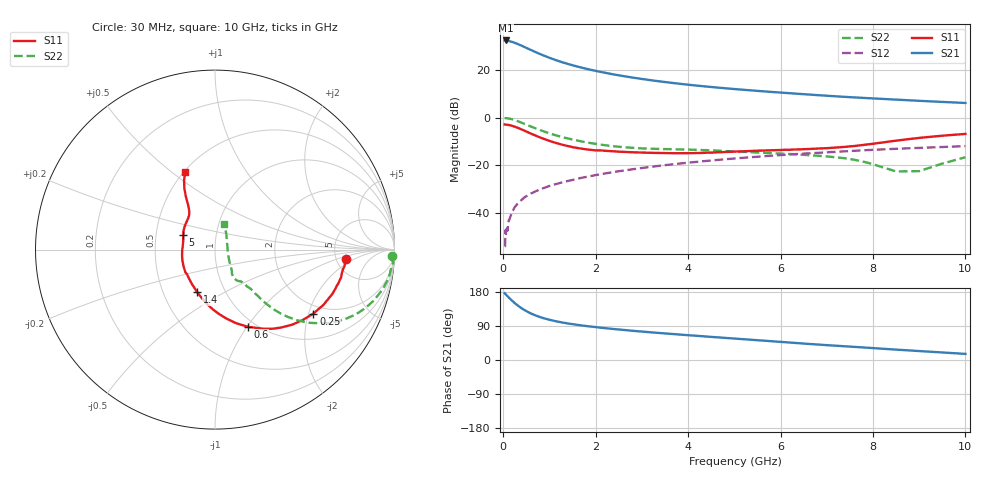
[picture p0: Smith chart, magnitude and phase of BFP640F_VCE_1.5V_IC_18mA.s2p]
! Infineon Technologies  Discrete & RF Semiconductors
! BFP640F
! VCE =  1.5 V,  IC =  18 mA
! Common Emitter S-Parameters:  Apr 2013
# GHz  S  MA  R  50
!  f  S11  S21  S12  S22
! GHz  MAG  ANG  MAG  ANG  MAG  ANG  MAG  ANG
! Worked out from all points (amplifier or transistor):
!   99 points, 30 MHz to 10 GHz, reference 50 ohm
!   highest |S21| = 32.6 dB at 50 MHz (marker M1)
!   |S21| within 3 dB of that: start of sweep to 486.2 MHz
!   unconditionally stable (mu >= 1): 2.368 GHz to end of sweep
!   at 350 MHz: K = 0.32, MSG = 33.0 dB, |S12| = -35.3 dB
!   at 3.5 GHz: K = 1.05, MAG = 16.2 dB, |S12| = -19.9 dB
!   at 10 GHz: K = 1.05, MAG = 7.7 dB, |S12| = -11.9 dB
!   S11 on the Smith chart (normalised r, x): 30 MHz: 6.07, -1.35; 250 MHz: 1.73, -2.16; 600 MHz: 0.92, -1.01; 1.4 GHz: 0.74, -0.37; 5 GHz: 0.69, +0.12; 10 GHz: 0.51, +0.56
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0.03  0.7291 -4.1  42.28 176.4  0.002 100.8  0.989 -2.1
0.05  0.7283 -7.2  42.69 173.9  0.0044 72.9  0.9951 -4.3
0.08  0.7188 -11.1  42.32 169.8  0.0047 87.6  0.9847 -7.0
0.14  0.702 -19.3  41.07 162.4  0.0076 84.3  0.9642 -12.5
0.2  0.6781 -27.0  39.53 155.5  0.0107 78.8  0.9318 -17.5
0.25  0.6542 -33.0  38 150.2  0.0134 76.8  0.8993 -21.2
0.3  0.626 -38.9  36.46 145.1  0.0152 74.5  0.8647 -24.6
0.4  0.5706 -49.5  33.08 136.3  0.0189 71.6  0.791 -30.3
0.5  0.5169 -58.6  29.8 129.0  0.0225 70.3  0.7224 -34.7
0.6  0.4671 -67.0  26.91 122.7  0.0257 68.4  0.6586 -38.2
0.7  0.4253 -74.2  24.29 117.6  0.0285 67.3  0.6029 -40.7
0.9  0.3559 -87.2  20.11 109.4  0.0341 66.3  0.5111 -44.2
1.1  0.3057 -98.5  16.99 103.3  0.0395 65.7  0.4414 -46.0
1.4  0.256 -113.2  13.67 96.5  0.0471 64.8  0.3695 -47.2
1.7  0.2255 -126.7  11.41 91.2  0.055 64.4  0.3194 -47.4
2.4  0.1982 -152.6  8.206 81.6  0.0729 62.7  0.253 -49.5
3.4  0.183 -178.4  5.853 71.1  0.0989 58.9  0.2218 -52.4
5  0.1954 155.1  4.056 56.6  0.1399 51.4  0.197 -55.9
5.1  0.1968 153.9  3.981 55.7  0.1424 50.9  0.1953 -56.0
6.7  0.2238 134.0  3.065 41.7  0.1818 41.9  0.1624 -54.5
8.5  0.3326 119.0  2.428 27.4  0.2242 31.4  0.0748 -15.8
10  0.4608 111.2  2.064 16.1  0.2549 22.7  0.149 70.1
